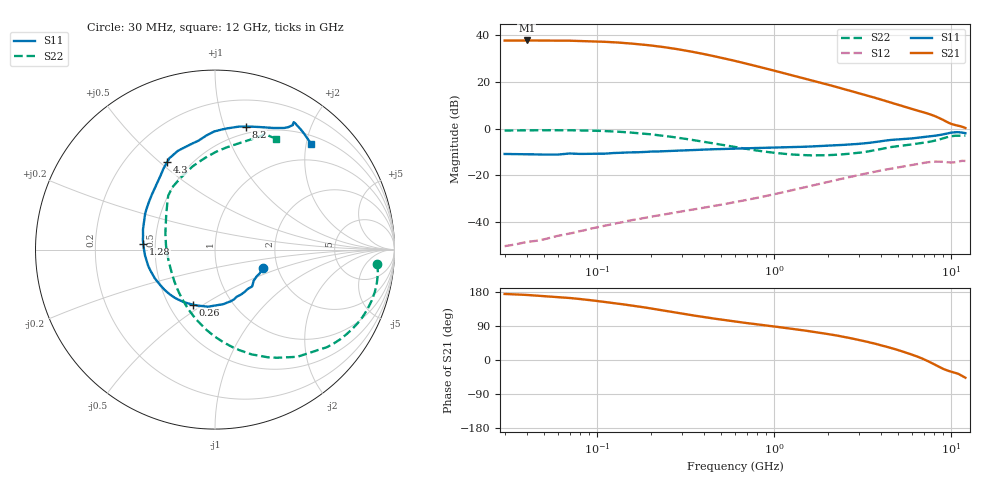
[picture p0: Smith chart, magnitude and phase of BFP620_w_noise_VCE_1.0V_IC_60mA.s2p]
! Infineon Technologies  Discrete & RF Semiconductors
! BFP620
! VCE =  1.0 V,  IC =  60 mA
! Common Emitter S-Parameters:  Nov 2015
# GHz  S  MA  R  50
!  f  S11  S21  S12  S22
! GHz  MAG  ANG  MAG  ANG  MAG  ANG  MAG  ANG
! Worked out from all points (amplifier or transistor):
!   239 points, 30 MHz to 12 GHz, reference 50 ohm
!   highest |S21| = 37.8 dB at 40 MHz (marker M1)
!   |S21| within 3 dB of that: start of sweep to 245.2 MHz
!   unconditionally stable (mu >= 1): 1.732 GHz to end of sweep
!   at 300 MHz: K = 0.54, MSG = 34.6 dB, |S12| = -35.5 dB
!   at 1.88 GHz: K = 1.01, MAG = 20.9 dB, |S12| = -23.4 dB
!   at 12 GHz: K = 1.08, MAG = 5.3 dB, |S12| = -13.9 dB
!   lowest NFmin = 1.69 dB at 450 MHz
!   S11 on the Smith chart (normalised r, x): 30 MHz: 1.67, -0.38; 260 MHz: 0.65, -0.45; 1.28 GHz: 0.43, +0.03; 4.3 GHz: 0.38, +0.53; 8.2 GHz: 0.43, +1.19; 12 GHz: 0.65, +2.10
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0.03  0.2849 -21.6  77.02 174.3  0.003 98.0  0.9076 -4.9
0.04  0.2821 -28.1  77.46 171.7  0.0037 91.6  0.9172 -8.2
0.07  0.2917 -44.8  76.52 163.6  0.0056 83.9  0.9182 -18.0
0.085  0.2863 -52.5  75.02 159.6  0.0066 81.2  0.9081 -22.7
0.115  0.2931 -67.5  71.91 152.3  0.0085 76.3  0.8766 -31.5
0.135  0.3018 -75.2  69.33 147.9  0.0096 74.2  0.8499 -37.1
0.165  0.3089 -86.1  65.18 142.4  0.0112 71.3  0.8025 -44.1
0.2  0.3205 -97.0  60.67 135.9  0.0128 68.8  0.753 -52.5
0.24  0.3267 -107.5  55.47 130.0  0.0144 66.9  0.6944 -60.2
0.26  0.331 -112.2  53.09 127.3  0.0152 66.2  0.6682 -63.9
0.32  0.3429 -123.9  46.61 120.5  0.0174 64.8  0.5961 -73.5
0.4  0.3547 -135.4  39.6 113.2  0.02 63.8  0.5193 -84.7
0.5  0.3634 -146.4  32.98 106.6  0.0232 63.3  0.4496 -96.1
0.6  0.3718 -154.5  28.15 101.5  0.0264 63.3  0.4004 -105.7
0.8  0.3831 -166.3  21.54 93.9  0.0326 63.1  0.3367 -121.7
1.28  0.4001 175.8  13.69 81.9  0.0482 61.1  0.2767 -149.3
1.64  0.4136 165.9  10.7 74.8  0.0599 58.3  0.266 -164.8
2.6  0.4521 145.2  6.68 59.0  0.0895 48.6  0.2861 165.1
4.3  0.5547 118.8  3.853 35.1  0.1324 29.4  0.3835 133.4
4.5  0.5688 116.6  3.649 32.3  0.1369 27.4  0.3975 131.0
8.2  0.7062 75.9  1.799 -13.9  0.1951 -13.2  0.5582 86.4
12  0.7963 47.7  1.028 -46.7  0.2014 -42.7  0.7064 61.0
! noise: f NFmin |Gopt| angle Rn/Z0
0.45  1.69  0.35  -167  0.1
0.9  1.7  0.38  -155  0.11
1.9  1.71  0.41  -139  0.13
2.4  1.74  0.41  -137  0.15
3.5  1.78  0.45  -106  0.27
5.5  2.08  0.46  -85  0.38
10  2.36  0.67  -42  1.41
